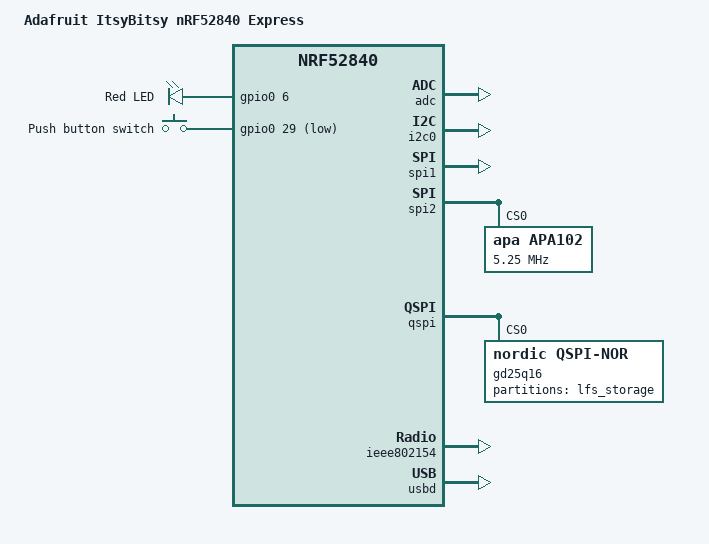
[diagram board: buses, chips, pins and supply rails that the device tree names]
/*
 * Copyright (c) 2022 Embla Flatlandsmo <embla.flatlandsmo@gmail.com>
 *
 * SPDX-License-Identifier: Apache-2.0
 */

/dts-v1/;
#include <nordic/nrf52840_qiaa.dtsi>
#include <nordic/nrf52840_partition_uf2_sdv6.dtsi>
#include "adafruit_itsybitsy_nrf52840-pinctrl.dtsi"
#include <zephyr/dt-bindings/input/input-event-codes.h>
#include <zephyr/dt-bindings/led/led.h>

/ {
	model = "Adafruit ItsyBitsy nRF52840 Express";
	compatible = "adafruit,itsybitsy-nrf52840";

	chosen {
		zephyr,ieee802154 = &ieee802154;
	};

	leds {
		compatible = "gpio-leds";
		led0: led_0 {
			gpios = <&gpio0 6 GPIO_ACTIVE_HIGH>;
			label = "Red LED";
		};
	};

	buttons {
		compatible = "gpio-keys";
		button0: button_0 {
			gpios = <&gpio0 29 (GPIO_PULL_UP | GPIO_ACTIVE_LOW)>;
			label = "Push button switch";
			zephyr,code = <INPUT_KEY_0>;
		};
	};

	/* These aliases are provided for compatibility with samples */
	aliases {
		led0 = &led0;
		sw0 = &button0;
		watchdog0 = &wdt0;
		led-strip = &apa102;
	};
};

&reg1 {
	regulator-initial-mode = <NRF5X_REG_MODE_DCDC>;
};

&adc {
	status = "okay";
};

&uicr {
	gpio-as-nreset;
};

&gpiote {
	status = "okay";
};

&gpio0 {
	status = "okay";
};

&gpio1 {
	status = "okay";
};

&uart0 {
	compatible = "nordic,nrf-uarte";
	current-speed = <115200>;
	status = "disabled";
	pinctrl-0 = <&uart0_default>;
	pinctrl-1 = <&uart0_sleep>;
	pinctrl-names = "default", "sleep";
};

&i2c0 {
	compatible = "nordic,nrf-twi";
	status = "okay";
	pinctrl-0 = <&i2c0_default>;
	pinctrl-1 = <&i2c0_sleep>;
	pinctrl-names = "default", "sleep";
};

&spi1 {
	compatible = "nordic,nrf-spi";
	status = "okay";
	pinctrl-0 = <&spi1_default>;
	pinctrl-1 = <&spi1_sleep>;
	pinctrl-names = "default", "sleep";
};

&spi2 {
	compatible = "nordic,nrf-spi";
	status = "okay";
	pinctrl-0 = <&spi2_default>;
	pinctrl-1 = <&spi2_sleep>;
	pinctrl-names = "default", "sleep";
	apa102: apa102@0 {
		compatible = "apa,apa102";
		reg = <0>;
		spi-max-frequency = <5250000>;
		chain-length = <1>;
		color-mapping = <LED_COLOR_ID_BLUE
				 LED_COLOR_ID_GREEN
				 LED_COLOR_ID_RED>;
	};
};

&qspi {
	status = "okay";
	pinctrl-0 = <&qspi_default>;
	pinctrl-1 = <&qspi_sleep>;
	pinctrl-names = "default", "sleep";
	gd25q16: gd25q16@0 {
		compatible = "nordic,qspi-nor";
		reg = <0>;
		writeoc = "pp4o";
		readoc = "read4io";
		sck-frequency = <32000000>;
		jedec-id = [c8 40 15];
		size = <16777216>;
		has-dpd;
		t-enter-dpd = <20000>;
		t-exit-dpd = <20000>;
		quad-enable-requirements = "S2B1v1";
	};
};

&ieee802154 {
	status = "okay";
};

&gd25q16 {
	partitions {
		compatible = "fixed-partitions";
		#address-cells = <1>;
		#size-cells = <1>;
		lfs_partition: partition@0 {
			label = "lfs_storage";
			reg = <0x00000000 DT_SIZE_M(2)>;
		};
	};
};

zephyr_udc0: &usbd {
	compatible = "nordic,nrf-usbd";
	status = "okay";
};
